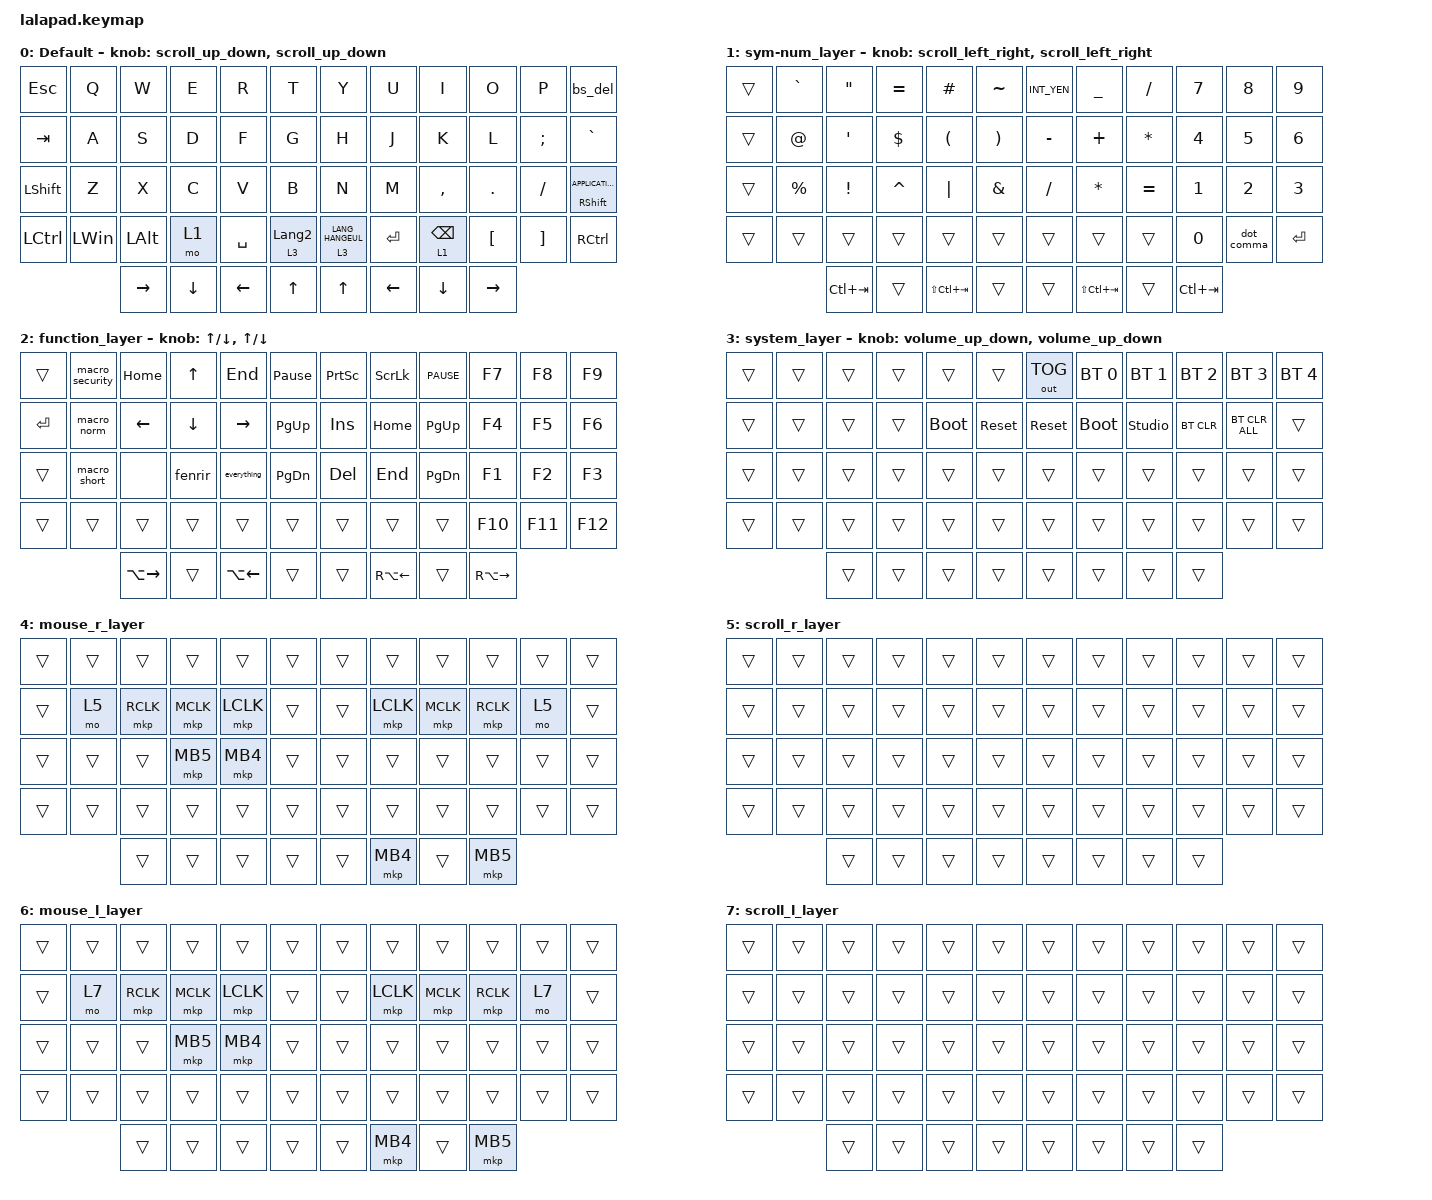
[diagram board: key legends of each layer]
#include <input/processors.dtsi>
#include <behaviors.dtsi>
#include <dt-bindings/zmk/bt.h>
#include <dt-bindings/zmk/keys.h>
#include <dt-bindings/zmk/outputs.h>
#include <dt-bindings/zmk/pointing.h>

#define DEFAULT_LAYER   0
#define SECONDARY_LAYER 1
#define TERTIARY_LAYER  2
#define SYSTEM_LAYER    3
#define MOUSE_R_LAYER   4
#define SCROLL_R_LAYER  5
#define MOUSE_L_LAYER   6
#define SCROLL_L_LAYER  7

// Mouse Scroll Value

#define ZMK_POINTING_DEFAULT_SCRL_VAL 100

// cirque trackpad input&layer control

&glidepoint_listener_R {
    input-processors =
        <&zip_xy_transform (INPUT_TRANSFORM_XY_SWAP | INPUT_TRANSFORM_X_INVERT | INPUT_TRANSFORM_Y_INVERT)>,
        <&zip_xy_scaler 3 2>,
        <&zip_temp_layer MOUSE_R_LAYER 500>;

    lowspeedmode {
        layers = <SECONDARY_LAYER>;
        input-processors =
            <&zip_xy_transform (INPUT_TRANSFORM_XY_SWAP | INPUT_TRANSFORM_X_INVERT | INPUT_TRANSFORM_Y_INVERT)>,
            <&zip_xy_scaler 3 5>,
            <&zip_temp_layer MOUSE_R_LAYER 500>;
    };

    scroller {
        layers = <SCROLL_R_LAYER>;
        input-processors =
            <&zip_xy_to_scroll_mapper>,
            <&zip_scroll_transform (INPUT_TRANSFORM_XY_SWAP | INPUT_TRANSFORM_Y_INVERT)>,
            <&zip_scroll_scaler 1 8>;
    };
};

&glidepoint_listener_L {
    input-processors =
        <&zip_xy_transform (INPUT_TRANSFORM_XY_SWAP | INPUT_TRANSFORM_X_INVERT | INPUT_TRANSFORM_Y_INVERT)>,
        <&zip_xy_scaler 3 2>,
        <&zip_temp_layer MOUSE_L_LAYER 500>;

    lowspeedmode {
        layers = <SECONDARY_LAYER>;
        input-processors =
            <&zip_xy_transform (INPUT_TRANSFORM_XY_SWAP | INPUT_TRANSFORM_X_INVERT | INPUT_TRANSFORM_Y_INVERT)>,
            <&zip_xy_scaler 3 4>,
            <&zip_temp_layer MOUSE_L_LAYER 500>;
    };

    scroller {
        layers = <SCROLL_L_LAYER>;
        input-processors =
            <&zip_xy_to_scroll_mapper>,
            <&zip_scroll_transform (INPUT_TRANSFORM_XY_SWAP | INPUT_TRANSFORM_Y_INVERT)>,
            <&zip_scroll_scaler 1 6>;
    };
};

/ {
    behaviors {
        // Encoder to Mouse Scroll

        scroll_up_down: sensor_scroll_up_down {
            compatible = "zmk,behavior-sensor-rotate";
            #sensor-binding-cells = <0>;
            bindings = <&msc SCRL_UP>, <&msc SCRL_DOWN>;

            tap-ms = <20>;
            label = "SCROLL_UP_DOWN";
        };

        scroll_down_up: sensor_scroll_down_up {
            compatible = "zmk,behavior-sensor-rotate";
            #sensor-binding-cells = <0>;
            bindings = <&msc SCRL_DOWN>, <&msc SCRL_UP>;

            tap-ms = <20>;
            label = "SCROLL_DOWN_UP";
        };

        scroll_left_right: sensor_scroll_left_right {
            compatible = "zmk,behavior-sensor-rotate";
            #sensor-binding-cells = <0>;
            bindings = <&msc SCRL_LEFT>, <&msc SCRL_RIGHT>;

            tap-ms = <20>;
            label = "SCROLL_LEFT_RIGHT";
        };

        scroll_right_left: sensor_scroll_right_left {
            compatible = "zmk,behavior-sensor-rotate";
            #sensor-binding-cells = <0>;
            bindings = <&msc SCRL_RIGHT>, <&msc SCRL_LEFT>;

            tap-ms = <20>;
            label = "SCROLL_RIGHT_LEFT";
        };

        volume_up_down: sensor_volume_up_down {
            compatible = "zmk,behavior-sensor-rotate";
            #sensor-binding-cells = <0>;
            bindings = <&kp C_VOLUME_UP>, <&kp C_VOLUME_DOWN>;

            tap-ms = <20>;
            label = "VOLUME_UP_DOWN";
        };

        dot_comma: dot_comma {
            compatible = "zmk,behavior-mod-morph";
            #binding-cells = <0>;
            bindings = <&kp KP_DOT>, <&kp COMMA>;

            mods = <(MOD_LSFT|MOD_RSFT)>;
            label = "DOT_COMMA";
        };

        pls_minus: pls_minus {
            compatible = "zmk,behavior-mod-morph";
            #binding-cells = <0>;
            bindings = <&kp PLUS>, <&kp MINUS>;

            mods = <(MOD_LSFT|MOD_RSFT)>;
            label = "PLS_MINUS";
        };

        allow_pageup: allow_pageup {
            compatible = "zmk,behavior-mod-morph";
            #binding-cells = <0>;
            bindings = <&kp UP>, <&kp PAGE_UP>;

            mods = <(MOD_LALT|MOD_RALT)>;
            label = "ALLOW_PAGEUP";
        };

        allow_pagedown: allow_pagedown {
            compatible = "zmk,behavior-mod-morph";
            #binding-cells = <0>;
            bindings = <&kp DOWN>, <&kp PAGE_DOWN>;

            mods = <(MOD_LALT|MOD_RALT)>;
            label = "ALLOW_PAGEDOWN";
        };

        allow_home: allow_home {
            compatible = "zmk,behavior-mod-morph";
            #binding-cells = <0>;
            bindings = <&kp LEFT>, <&kp HOME>;

            mods = <(MOD_LALT|MOD_RALT)>;
            label = "ALLOW_HOME";
        };

        allow_end: allow_end {
            compatible = "zmk,behavior-mod-morph";
            #binding-cells = <0>;
            bindings = <&kp RIGHT>, <&kp END>;

            mods = <(MOD_LALT|MOD_RALT)>;
            label = "ALLOW_END";
        };

        mt2: mod_tap2 {
            compatible = "zmk,behavior-hold-tap";
            #binding-cells = <2>;
            flavor = "tap-preferred";
            tapping-term-ms = <200>;
            quick-tap-ms = <200>;
            require-prior-idle-ms = <125>;
            bindings = <&kp>, <&kp>;
        };

        bs_del: bs_del {
            compatible = "zmk,behavior-mod-morph";
            label = "BS_DEL";
            bindings = <&kp BACKSPACE>, <&kp DELETE>;

            #binding-cells = <0>;
            mods = <(MOD_RCTL|MOD_LCTL|MOD_LSFT|MOD_RSFT)>;
        };

        mo1_2: mo1_2 {
            compatible = "zmk,behavior-tap-dance";
            label = "MO1_2";
            #binding-cells = <0>;
            bindings = <&mo 1>, <&mo 2>;
        };

        rshift_rctrl: rshift_rctrl {
            compatible = "zmk,behavior-tap-dance";
            label = "RSHIFT_RCTRL";
            #binding-cells = <0>;
            bindings = <&kp RIGHT_SHIFT>, <&kp RCTRL>;
        };
    };

    combos {
        compatible = "zmk,combos";

        layer2_left {
            bindings = <&mo 2>;
            key-positions = <39 40>;
        };

        layer2_right {
            bindings = <&mo 2>;
            key-positions = <43 44>;
        };

        lclk_right {
            bindings = <&mkp LCLK>;
            key-positions = <19 20>;
        };

        rclk_right {
            bindings = <&mkp RCLK>;
            key-positions = <20 21>;
        };

        az_ms {
            bindings = <&macro_ms>;
            key-positions = <13 25>;
        };

        combo_tab {
            bindings = <&kp TAB>;
            key-positions = <14 15>;
        };
    };

    macros {
        macro_security: macro1 {
            compatible = "zmk,behavior-macro";
            #binding-cells = <0>;
            bindings = <&kp LS(M) &kp AT &kp K &kp N0 &kp T &kp N0 &kp LS(H) &kp N0 &kp K &kp U &kp C &kp H &kp N1>;
            label = "MACRO1";
        };

        macro_norm: macro_norm {
            compatible = "zmk,behavior-macro";
            #binding-cells = <0>;
            bindings = <&kp LS(M) &kp A &kp K &kp N0 &kp T &kp N0 &kp LS(H) &kp N0 &kp K &kp U &kp C &kp H &kp N1>;
            label = "MACRO_NORM";
        };

        macro_short: macro_short {
            compatible = "zmk,behavior-macro";
            #binding-cells = <0>;
            bindings = <&kp LS(H) &kp N0 &kp K &kp U &kp C &kp H &kp N1>;
            label = "MACRO_SHORT";
        };

        fenrir: fenrir {
            compatible = "zmk,behavior-macro";
            #binding-cells = <0>;
            bindings = <&kp LS(LC(INT_YEN))>;
            label = "FENRIR";
        };

        everything: everything {
            compatible = "zmk,behavior-macro";
            #binding-cells = <0>;
            bindings = <&kp LS(LC(BACKSPACE))>;
            label = "EVERYTHING";
        };

        macro_ms: macro_ms {
            compatible = "zmk,behavior-macro";
            #binding-cells = <0>;
            bindings = <&kp N2 &kp M &kp LS(M) &kp A &kp K &kp N0 &kp T &kp N0 &kp DLLR &kp N3>;
            label = "MACRO_MS";
        };
    };

    keymap {
        compatible = "zmk,keymap";

        DEFAULT_LAYER {
            display-name = "Default";
            sensor-bindings = <&scroll_up_down>, <&scroll_up_down>;

            bindings = <
&kp ESC    &kp Q         &kp W         &kp E     &kp R           &kp T             &kp Y               &kp U      &kp I            &kp O             &kp P              &bs_del
&kp TAB    &kp A         &kp S         &kp D     &kp F           &kp G             &kp H               &kp J      &kp K            &kp L             &kp SEMI           &kp GRAVE
&kp LSHFT  &kp Z         &kp X         &kp C     &kp V           &kp B             &kp N               &kp M      &kp COMMA        &kp PERIOD        &kp SLASH          &mt RIGHT_SHIFT K_APPLICATION
&kp LCTRL  &kp LEFT_WIN  &kp LEFT_ALT  &mo 1     &kp SPACE       &lt 3 LANGUAGE_2  &lt 3 LANG_HANGEUL  &kp ENTER  &lt 1 BACKSPACE  &kp LEFT_BRACKET  &kp RIGHT_BRACKET  &kp RCTRL
                         &kp RIGHT     &kp DOWN  &kp LEFT_ARROW  &kp UP_ARROW      &kp UP_ARROW        &kp LEFT   &kp DOWN         &kp RIGHT
            >;
        };

        SYM-NUM_LAYER {
            display-name = "sym-num_layer";
            bindings = <
&trans  &kp GRAVE    &kp DOUBLE_QUOTES  &kp EQUAL   &kp HASH              &kp TILDE              &kp INT_YEN  &kp UNDER        &kp SLASH     &kp N7        &kp N8        &kp N9
&trans  &kp AT       &kp SINGLE_QUOTE   &kp DOLLAR  &kp LEFT_PARENTHESIS  &kp RIGHT_PARENTHESIS  &kp MINUS    &kp PLUS         &kp ASTERISK  &kp NUMBER_4  &kp N5        &kp NUMBER_6
&trans  &kp PERCENT  &kp EXCLAMATION    &kp CARET   &kp PIPE              &kp AMPERSAND          &kp SLASH    &kp ASTERISK     &kp EQUAL     &kp NUMBER_1  &kp NUMBER_2  &kp NUMBER_3
&trans  &trans       &trans             &trans      &trans                &trans                 &trans       &trans           &trans        &kp NUMBER_0  &dot_comma    &kp ENTER
                     &kp LC(TAB)        &trans      &kp LS(LC(TAB))       &trans                 &trans       &kp LS(LC(TAB))  &trans        &kp LC(TAB)
            >;

            sensor-bindings = <&scroll_left_right>, <&scroll_left_right>;
        };

        FUNCTION_LAYER {
            display-name = "function_layer";
            sensor-bindings =
                <&inc_dec_kp UP_ARROW DOWN_ARROW>,
                <&inc_dec_kp UP_ARROW DOWN_ARROW>;

            bindings = <
&trans     &macro_security  &kp HOME       &kp UP_ARROW  &kp END       &kp PAUSE_BREAK  &kp PRINTSCREEN  &kp SCROLLLOCK  &kp C_PAUSE    &kp F7         &kp F8   &kp F9
&kp ENTER  &macro_norm      &kp LEFT       &kp DOWN      &kp RIGHT     &kp PAGE_UP      &kp INSERT       &kp HOME        &kp PAGE_UP    &kp F4         &kp F5   &kp F6
&trans     &macro_short     &none          &fenrir       &everything   &kp PAGE_DOWN    &kp DELETE       &kp END         &kp PAGE_DOWN  &kp F1         &kp F2   &kp F3
&trans     &trans           &trans         &trans        &trans        &trans           &trans           &trans          &trans         &kp F10        &kp F11  &kp F12
                            &kp LA(RIGHT)  &trans        &kp LA(LEFT)  &trans           &trans           &kp RA(LEFT)    &trans         &kp RA(RIGHT)
            >;
        };

        SYSTEM_LAYER {
            display-name = "system_layer";
            sensor-bindings = <&volume_up_down>, <&volume_up_down>;

            bindings = <
&trans  &trans  &trans  &trans  &trans       &trans      &out OUT_TOG  &bt BT_SEL 0  &bt BT_SEL 1    &bt BT_SEL 2  &bt BT_SEL 3    &bt BT_SEL 4
&trans  &trans  &trans  &trans  &bootloader  &sys_reset  &sys_reset    &bootloader   &studio_unlock  &bt BT_CLR    &bt BT_CLR_ALL  &trans
&trans  &trans  &trans  &trans  &trans       &trans      &trans        &trans        &trans          &trans        &trans          &trans
&trans  &trans  &trans  &trans  &trans       &trans      &trans        &trans        &trans          &trans        &trans          &trans
                &trans  &trans  &trans       &trans      &trans        &trans        &trans          &trans
            >;
        };

        MOUSE_R_LAYER {
            display-name = "mouse_r_layer";
            bindings = <
&trans  &trans  &trans     &trans     &trans     &trans  &trans  &trans     &trans     &trans     &trans  &trans
&trans  &mo 5   &mkp RCLK  &mkp MCLK  &mkp LCLK  &trans  &trans  &mkp LCLK  &mkp MCLK  &mkp RCLK  &mo 5   &trans
&trans  &trans  &trans     &mkp MB5   &mkp MB4   &trans  &trans  &trans     &trans     &trans     &trans  &trans
&trans  &trans  &trans     &trans     &trans     &trans  &trans  &trans     &trans     &trans     &trans  &trans
                &trans     &trans     &trans     &trans  &trans  &mkp MB4   &trans     &mkp MB5
            >;
        };

        SCROLL_R_LAYER {
            display-name = "scroll_r_layer";
            bindings = <
&trans  &trans  &trans  &trans  &trans  &trans  &trans  &trans  &trans  &trans  &trans  &trans
&trans  &trans  &trans  &trans  &trans  &trans  &trans  &trans  &trans  &trans  &trans  &trans
&trans  &trans  &trans  &trans  &trans  &trans  &trans  &trans  &trans  &trans  &trans  &trans
&trans  &trans  &trans  &trans  &trans  &trans  &trans  &trans  &trans  &trans  &trans  &trans
                &trans  &trans  &trans  &trans  &trans  &trans  &trans  &trans
            >;
        };

        MOUSE_L_LAYER {
            display-name = "mouse_l_layer";
            bindings = <
&trans  &trans  &trans     &trans     &trans     &trans  &trans  &trans     &trans     &trans     &trans  &trans
&trans  &mo 7   &mkp RCLK  &mkp MCLK  &mkp LCLK  &trans  &trans  &mkp LCLK  &mkp MCLK  &mkp RCLK  &mo 7   &trans
&trans  &trans  &trans     &mkp MB5   &mkp MB4   &trans  &trans  &trans     &trans     &trans     &trans  &trans
&trans  &trans  &trans     &trans     &trans     &trans  &trans  &trans     &trans     &trans     &trans  &trans
                &trans     &trans     &trans     &trans  &trans  &mkp MB4   &trans     &mkp MB5
            >;
        };

        SCROLL_L_LAYER {
            display-name = "scroll_l_layer";
            bindings = <
&trans  &trans  &trans  &trans  &trans  &trans  &trans  &trans  &trans  &trans  &trans  &trans
&trans  &trans  &trans  &trans  &trans  &trans  &trans  &trans  &trans  &trans  &trans  &trans
&trans  &trans  &trans  &trans  &trans  &trans  &trans  &trans  &trans  &trans  &trans  &trans
&trans  &trans  &trans  &trans  &trans  &trans  &trans  &trans  &trans  &trans  &trans  &trans
                &trans  &trans  &trans  &trans  &trans  &trans  &trans  &trans
            >;
        };
    };
};
